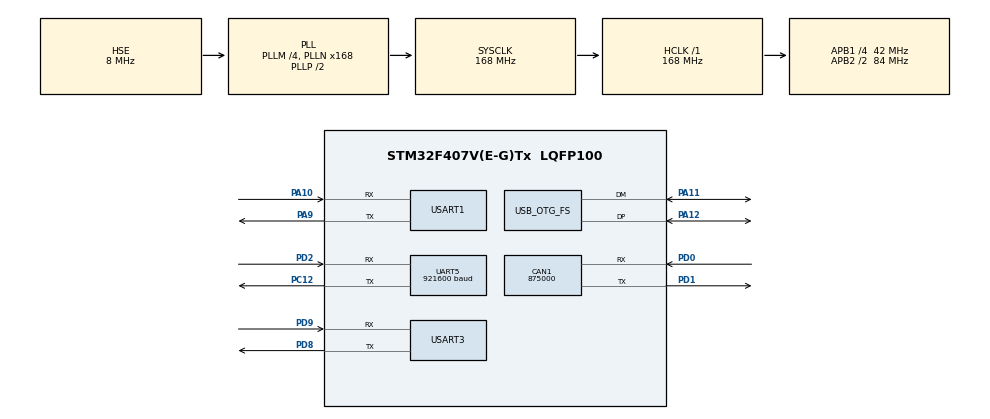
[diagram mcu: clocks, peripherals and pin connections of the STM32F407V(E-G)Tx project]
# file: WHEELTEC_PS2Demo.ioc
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CAN1.CalculateBaudRate=875000
CAN1.CalculateTimeBit=1142
CAN1.CalculateTimeQuantum=380.95238095238096
Dma.Request0=UART5_RX
Dma.UART5_RX.0.Direction=DMA_PERIPH_TO_MEMORY
Dma.UART5_RX.0.FIFOMode=DMA_FIFOMODE_DISABLE
Dma.UART5_RX.0.Instance=DMA1_Stream0
Dma.UART5_RX.0.MemDataAlignment=DMA_MDATAALIGN_BYTE
Dma.UART5_RX.0.MemInc=DMA_MINC_ENABLE
Dma.UART5_RX.0.Mode=DMA_CIRCULAR
Dma.UART5_RX.0.PeriphDataAlignment=DMA_PDATAALIGN_BYTE
Dma.UART5_RX.0.PeriphInc=DMA_PINC_DISABLE
Dma.UART5_RX.0.Priority=DMA_PRIORITY_HIGH
Mcu.Family=STM32F4
Mcu.Name=STM32F407V(E-G)Tx
Mcu.Package=LQFP100
NVIC.DMA1_Stream0_IRQn=true\:0\:0\:false\:false\:true\:false\:true\:true
NVIC.OTG_FS_IRQn=true\:0\:0\:false\:false\:true\:false\:true\:true
NVIC.PriorityGroup=NVIC_PRIORITYGROUP_4
NVIC.UART5_IRQn=true\:0\:0\:false\:false\:true\:true\:true\:true
NVIC.USART1_IRQn=true\:0\:0\:false\:false\:true\:true\:true\:true
NVIC.USART3_IRQn=true\:0\:0\:false\:false\:true\:true\:true\:true
PA10.Mode=Asynchronous
PA10.Signal=USART1_RX
PA11.Mode=Host_Only
PA11.Signal=USB_OTG_FS_DM
PA12.Mode=Host_Only
PA12.Signal=USB_OTG_FS_DP
PA13.Mode=Serial_Wire
PA13.Signal=SYS_JTMS-SWDIO
PA14.Mode=Serial_Wire
PA14.Signal=SYS_JTCK-SWCLK
PA9.Mode=Asynchronous
PA9.Signal=USART1_TX
PC12.Mode=Asynchronous
PC12.Signal=UART5_TX
PD0.Mode=CAN_Activate
PD0.Signal=CAN1_RX
PD1.Mode=CAN_Activate
PD1.Signal=CAN1_TX
PD2.Mode=Asynchronous
PD2.Signal=UART5_RX
PD8.Mode=Asynchronous
PD8.Signal=USART3_TX
PD9.Mode=Asynchronous
PD9.Signal=USART3_RX
PH0-OSC_IN.Mode=HSE-External-Oscillator
PH0-OSC_IN.Signal=RCC_OSC_IN
PH1-OSC_OUT.Mode=HSE-External-Oscillator
PH1-OSC_OUT.Signal=RCC_OSC_OUT
ProjectManager.HeapSize=0x200
ProjectManager.StackSize=0x400
ProjectManager.TargetToolchain=MDK-ARM V5.32
RCC.48MHZClocksFreq_Value=48000000
RCC.AHBFreq_Value=168000000
RCC.APB1CLKDivider=RCC_HCLK_DIV4
RCC.APB1Freq_Value=42000000
RCC.APB1TimFreq_Value=84000000
RCC.APB2CLKDivider=RCC_HCLK_DIV2
RCC.APB2Freq_Value=84000000
RCC.APB2TimFreq_Value=168000000
RCC.CortexFreq_Value=168000000
RCC.HCLKFreq_Value=168000000
RCC.HSE_VALUE=8000000
RCC.HSI_VALUE=16000000
RCC.LSE_VALUE=32768
RCC.PLLM=4
RCC.PLLN=168
RCC.PLLQ=7
RCC.SYSCLKFreq_VALUE=168000000
RCC.SYSCLKSource=RCC_SYSCLKSOURCE_PLLCLK
RCC.VCOOutputFreq_Value=336000000
UART5.BaudRate=921600
UART5.VirtualMode=Asynchronous
USART1.VirtualMode=VM_ASYNC
USART3.VirtualMode=VM_ASYNC
USB_HOST.SW_VBUS_DRIVE_HID_FS=true
USB_HOST.USBH_DEBUG_LEVEL-HID_FS=3
USB_HOST.USBH_HandleTypeDef-HID_FS=hUsbHostFS
USB_HOST.USBH_MAX_DATA_BUFFER-HID_FS=1024
USB_HOST.USBH_MAX_NUM_SUPPORTED_CLASS-HID_FS=4
USB_HOST.VirtualModeFS=Hid
USB_OTG_FS.VirtualMode=Host_Only
USB_OTG_FS.phy_itface=HCD_PHY_EMBEDDED
VP_USB_HOST_VS_USB_HOST_HID_FS.Mode=HID_FS
board=custom

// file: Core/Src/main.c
/* USER CODE BEGIN Header */
/**
 ******************************************************************************
 * @file           : main.c
 * @brief          : Main program body
 ******************************************************************************
 * @attention      :
 *
 * Copyright (c) 2025 STMicroelectronics.
 * All rights reserved.
 *
 * This software is licensed under terms that can be found in the LICENSE file
 * in the root directory of this software component.
 * If no LICENSE file comes with this software, it is provided AS-IS.
 *
 ******************************************************************************
 */
/* USER CODE END Header */
#include "main.h"
#include "can.h"
#include "dma.h"
#include "usart.h"
#include "usb_host.h"
#include "gpio.h"

/* USER CODE BEGIN Includes */
#include "other.h"
#include "gyro.h"
/* USER CODE END Includes */

void SystemClock_Config(void);
void MX_USB_HOST_Process(void);

int main(void)
{

  /* MCU Configuration--------------------------------------------------------*/

  /* Reset of all peripherals, Initializes the Flash interface and the Systick. */
  HAL_Init();

  /* Configure the system clock */
  SystemClock_Config();

  /* Initialize all configured peripherals */
  MX_GPIO_Init();
  MX_DMA_Init();
  MX_USART1_UART_Init();
  MX_USB_HOST_Init();
  MX_USART3_UART_Init();
  MX_CAN1_Init();
  MX_UART5_Init();
  /* USER CODE BEGIN 2 */
  // 初始化陀螺仪模块
  Gyro_Init();

  // 测试printf是否工作
  printf("System Init OK\r\n");

  /* USER CODE END 2 */

  /* Infinite loop */
  /* USER CODE BEGIN WHILE */

  uint32_t heartbeat_time = 0;

  while (1)
  {
    /* USER CODE END WHILE */
    MX_USB_HOST_Process();

    /* USER CODE BEGIN 3 */

    // 处理陀螺仪数据
    Gyro_Process();

    // 如果有新数据，则可以进行其他处理
    if (Gyro_IsDataReady())
    {
      // Gyro_Data_t current_gyro_data = Gyro_GetData();
      // 在这里使用 current_gyro_data ...

      Gyro_ClearDataReadyFlag(); // 清除标志
    }

    // 每隔2秒输出心跳
    if (HAL_GetTick() - heartbeat_time > 2000)
    {
      heartbeat_time = HAL_GetTick();
      printf("Heartbeat\r\n");
    }

    HAL_Delay(1); // 避免CPU占用过高

    /* USER CODE END 3 */
  }
}

void SystemClock_Config(void)
{
  RCC_OscInitTypeDef RCC_OscInitStruct = {0};
  RCC_ClkInitTypeDef RCC_ClkInitStruct = {0};

  /** Configure the main internal regulator output voltage
   */
  __HAL_RCC_PWR_CLK_ENABLE();
  __HAL_PWR_VOLTAGESCALING_CONFIG(PWR_REGULATOR_VOLTAGE_SCALE1);

  /** Initializes the RCC Oscillators according to the specified parameters
   * in the RCC_OscInitTypeDef structure.
   */
  RCC_OscInitStruct.OscillatorType = RCC_OSCILLATORTYPE_HSE;
  RCC_OscInitStruct.HSEState = RCC_HSE_ON;
  RCC_OscInitStruct.PLL.PLLState = RCC_PLL_ON;
  RCC_OscInitStruct.PLL.PLLSource = RCC_PLLSOURCE_HSE;
  RCC_OscInitStruct.PLL.PLLM = 4;
  RCC_OscInitStruct.PLL.PLLN = 168;
  RCC_OscInitStruct.PLL.PLLP = RCC_PLLP_DIV2;
  RCC_OscInitStruct.PLL.PLLQ = 7;
  if (HAL_RCC_OscConfig(&RCC_OscInitStruct) != HAL_OK)
  {
    Error_Handler();
  }

  /** Initializes the CPU, AHB and APB buses clocks
   */
  RCC_ClkInitStruct.ClockType = RCC_CLOCKTYPE_HCLK | RCC_CLOCKTYPE_SYSCLK | RCC_CLOCKTYPE_PCLK1 | RCC_CLOCKTYPE_PCLK2;
  RCC_ClkInitStruct.SYSCLKSource = RCC_SYSCLKSOURCE_PLLCLK;
  RCC_ClkInitStruct.AHBCLKDivider = RCC_SYSCLK_DIV1;
  RCC_ClkInitStruct.APB1CLKDivider = RCC_HCLK_DIV4;
  RCC_ClkInitStruct.APB2CLKDivider = RCC_HCLK_DIV2;

  if (HAL_RCC_ClockConfig(&RCC_ClkInitStruct, FLASH_LATENCY_5) != HAL_OK)
  {
    Error_Handler();
  }
}

/* USER CODE BEGIN 4 */

// UART DMA接收完成回调函数
void HAL_UART_RxCpltCallback(UART_HandleTypeDef *huart)
{
  Gyro_UART_RxCpltCallback(huart);
}

// UART DMA接收半完成回调函数
void HAL_UART_RxHalfCpltCallback(UART_HandleTypeDef *huart)
{
  Gyro_UART_RxHalfCpltCallback(huart);
}

/* USER CODE END 4 */

void Error_Handler(void)
{
  __disable_irq();
  while (1)
  {
  }
}
